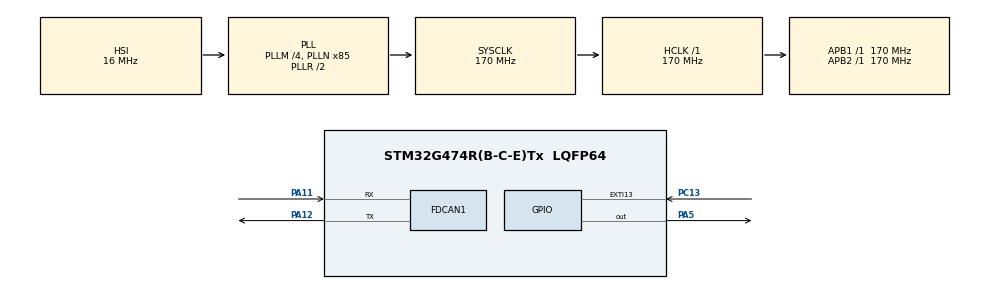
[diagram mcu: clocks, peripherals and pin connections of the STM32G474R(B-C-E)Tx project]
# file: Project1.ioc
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FDCAN1.CalculateBaudRateNominal=500000
FDCAN1.CalculateTimeBitNominal=2000
FDCAN1.CalculateTimeQuantumNominal=400.0
FDCAN1.NominalPrescaler=68
FDCAN1.NominalTimeSeg1=2
FDCAN1.NominalTimeSeg2=2
Mcu.Family=STM32G4
Mcu.Name=STM32G474R(B-C-E)Tx
Mcu.Package=LQFP64
NUCLEO-G474RE.BUTTON=1
NUCLEO-G474RE.LD2=true
NUCLEO-G474RE.VCP=true
NVIC.EXTI15_10_IRQn=true\:0\:0\:false\:false\:true\:true\:true\:true
NVIC.PriorityGroup=NVIC_PRIORITYGROUP_4
PA11.GPIO_Speed=GPIO_SPEED_FREQ_VERY_HIGH
PA11.Mode=FDCAN_Activate
PA11.Signal=FDCAN1_RX
PA12.GPIO_Speed=GPIO_SPEED_FREQ_VERY_HIGH
PA12.Mode=FDCAN_Activate
PA12.Signal=FDCAN1_TX
PA13.GPIO_Label=T_SWDIO
PA13.Signal=SYS_JTMS-SWDIO
PA14.GPIO_Label=T_SWCLK
PA14.Signal=SYS_JTCK-SWCLK
PA2.Signal=LPUART1_TX
PA3.Signal=LPUART1_RX
PA5.Signal=GPIO_Output
PB3.GPIO_Label=T_SWO
PB3.Signal=SYS_JTDO-SWO
PC13.Signal=GPXTI13
PC14-OSC32_IN.GPIO_Label=RCC_OSC32_IN
PC14-OSC32_IN.Signal=RCC_OSC32_IN
PC15-OSC32_OUT.GPIO_Label=RCC_OSC32_OUT
PC15-OSC32_OUT.Signal=RCC_OSC32_OUT
PF0-OSC_IN.GPIO_Label=RCC_OSC_IN
PF0-OSC_IN.Signal=RCC_OSC_IN
PF1-OSC_OUT.GPIO_Label=RCC_OSC_OUT
PF1-OSC_OUT.Signal=RCC_OSC_OUT
ProjectManager.HeapSize=0x200
ProjectManager.StackSize=0x400
ProjectManager.TargetToolchain=STM32CubeIDE
RCC.ADC12Freq_Value=170000000
RCC.ADC345Freq_Value=170000000
RCC.AHBFreq_Value=170000000
RCC.APB1Freq_Value=170000000
RCC.APB1TimFreq_Value=170000000
RCC.APB2Freq_Value=170000000
RCC.APB2TimFreq_Value=170000000
RCC.CortexFreq_Value=170000000
RCC.EXTERNAL_CLOCK_VALUE=12288000
RCC.HCLKFreq_Value=170000000
RCC.HSE_VALUE=24000000
RCC.HSI48_VALUE=48000000
RCC.HSI_VALUE=16000000
RCC.LSE_VALUE=32768
RCC.PLLM=RCC_PLLM_DIV4
RCC.PLLN=85
RCC.RTCClockSelection=RCC_RTCCLKSOURCE_LSE
RCC.SYSCLKFreq_VALUE=170000000
RCC.SYSCLKSource=RCC_SYSCLKSOURCE_PLLCLK
RCC.USBFreq_Value=170000000
RCC.VCOOutputFreq_Value=340000000
VP_NUCLEO-G474RE_VS_BSP_COMMON.Mode=COMMON
VP_SYS_VS_DBSignals.Mode=DisableDeadBatterySignals
board=NUCLEO-G474RE

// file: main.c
/* USER CODE BEGIN Header */
/**
  ******************************************************************************
  * @file           : main.c
  * @brief          : Main program body
  ******************************************************************************
  * @attention
  *
  * Copyright (c) 2025 STMicroelectronics.
  * All rights reserved.
  *
  * This software is licensed under terms that can be found in the LICENSE file
  * in the root directory of this software component.
  * If no LICENSE file comes with this software, it is provided AS-IS.
  *
  ******************************************************************************
  */
/* USER CODE END Header */
#include "main.h"

/* USER CODE BEGIN Includes */
#include "stm32g4xx_hal.h"
#include <stdio.h>
/* USER CODE END Includes */

COM_InitTypeDef BspCOMInit;
FDCAN_HandleTypeDef hfdcan1;

/* USER CODE BEGIN PV */
COM_InitTypeDef BspCOMInit;
FDCAN_HandleTypeDef hfdcan1;
FDCAN_TxHeaderTypeDef TxHeader;
uint8_t TxData[8] = {0};   // up to 8 bytes
/* USER CODE END PV */

void SystemClock_Config(void);
static void MX_GPIO_Init(void);
static void MX_FDCAN1_Init(void);

int main(void)
{

  /* MCU Configuration--------------------------------------------------------*/

  /* Reset of all peripherals, Initializes the Flash interface and the Systick. */
  HAL_Init();

  /* Configure the system clock */
  SystemClock_Config();

  /* Initialize all configured peripherals */
  MX_GPIO_Init();
  MX_FDCAN1_Init();
  /* USER CODE BEGIN 2 */
  // Start FDCAN
  if (HAL_FDCAN_Start(&hfdcan1) != HAL_OK)
  {
    Error_Handler();
  }

  // Accept all messages (optional for this example)
  HAL_FDCAN_ConfigGlobalFilter(&hfdcan1,
  						     FDCAN_ACCEPT_IN_RX_FIFO0,
  						     FDCAN_ACCEPT_IN_RX_FIFO0,
  						     FDCAN_REJECT_REMOTE,
  						     FDCAN_REJECT_REMOTE);

  // Configure transmit header
  TxHeader.Identifier = 0x103;                 // CAN ID
  TxHeader.IdType = FDCAN_STANDARD_ID;
  TxHeader.TxFrameType = FDCAN_DATA_FRAME;
  TxHeader.DataLength = FDCAN_DLC_BYTES_1;
  TxHeader.ErrorStateIndicator = FDCAN_ESI_ACTIVE;
  TxHeader.BitRateSwitch = FDCAN_BRS_OFF;
  TxHeader.FDFormat = FDCAN_CLASSIC_CAN;
  TxHeader.TxEventFifoControl = FDCAN_NO_TX_EVENTS;
  TxHeader.MessageMarker = 0;
  /* USER CODE END 2 */

  /* Initialize led */
  BSP_LED_Init(LED_GREEN);

  /* Initialize USER push-button, will be used to trigger an interrupt each time it's pressed.*/
  BSP_PB_Init(BUTTON_USER, BUTTON_MODE_EXTI);

  /* Initialize COM1 port (115200, 8 bits (7-bit data + 1 stop bit), no parity */
  BspCOMInit.BaudRate   = 115200;
  BspCOMInit.WordLength = COM_WORDLENGTH_8B;
  BspCOMInit.StopBits   = COM_STOPBITS_1;
  BspCOMInit.Parity     = COM_PARITY_NONE;
  BspCOMInit.HwFlowCtl  = COM_HWCONTROL_NONE;
  if (BSP_COM_Init(COM1, &BspCOMInit) != BSP_ERROR_NONE)
  {
    Error_Handler();
  }

  /* Infinite loop */
  /* USER CODE BEGIN WHILE */
  volatile int buttonPressed = 0;
  volatile int counter = 0;

  while (1)
  {
      HAL_Delay(2);

      /* ---- CAN Button Demo ---- */
     if (BSP_PB_GetState(BUTTON_USER) == GPIO_PIN_RESET)
     {
         if (!buttonPressed % 2)
         {
        	 buttonPressed = 1;
             printf("Hello\n");

             if (HAL_FDCAN_AddMessageToTxFifoQ(&hfdcan1, &TxHeader, TxData) != HAL_OK)
             {
                 Error_Handler();
             }

         }
     }
     else
     {
         buttonPressed = 0;
     }

    /* USER CODE END WHILE */

  }
}

void SystemClock_Config(void)
{
  RCC_OscInitTypeDef RCC_OscInitStruct = {0};
  RCC_ClkInitTypeDef RCC_ClkInitStruct = {0};

  /** Configure the main internal regulator output voltage
  */
  HAL_PWREx_ControlVoltageScaling(PWR_REGULATOR_VOLTAGE_SCALE1_BOOST);

  /** Initializes the RCC Oscillators according to the specified parameters
  * in the RCC_OscInitTypeDef structure.
  */
  RCC_OscInitStruct.OscillatorType = RCC_OSCILLATORTYPE_HSI;
  RCC_OscInitStruct.HSIState = RCC_HSI_ON;
  RCC_OscInitStruct.HSICalibrationValue = RCC_HSICALIBRATION_DEFAULT;
  RCC_OscInitStruct.PLL.PLLState = RCC_PLL_ON;
  RCC_OscInitStruct.PLL.PLLSource = RCC_PLLSOURCE_HSI;
  RCC_OscInitStruct.PLL.PLLM = RCC_PLLM_DIV4;
  RCC_OscInitStruct.PLL.PLLN = 85;
  RCC_OscInitStruct.PLL.PLLP = RCC_PLLP_DIV2;
  RCC_OscInitStruct.PLL.PLLQ = RCC_PLLQ_DIV2;
  RCC_OscInitStruct.PLL.PLLR = RCC_PLLR_DIV2;
  if (HAL_RCC_OscConfig(&RCC_OscInitStruct) != HAL_OK)
  {
    Error_Handler();
  }

  /** Initializes the CPU, AHB and APB buses clocks
  */
  RCC_ClkInitStruct.ClockType = RCC_CLOCKTYPE_HCLK|RCC_CLOCKTYPE_SYSCLK
                              |RCC_CLOCKTYPE_PCLK1|RCC_CLOCKTYPE_PCLK2;
  RCC_ClkInitStruct.SYSCLKSource = RCC_SYSCLKSOURCE_PLLCLK;
  RCC_ClkInitStruct.AHBCLKDivider = RCC_SYSCLK_DIV1;
  RCC_ClkInitStruct.APB1CLKDivider = RCC_HCLK_DIV1;
  RCC_ClkInitStruct.APB2CLKDivider = RCC_HCLK_DIV1;

  if (HAL_RCC_ClockConfig(&RCC_ClkInitStruct, FLASH_LATENCY_4) != HAL_OK)
  {
    Error_Handler();
  }
}

static void MX_FDCAN1_Init(void)
{

  hfdcan1.Instance = FDCAN1;
  hfdcan1.Init.ClockDivider = FDCAN_CLOCK_DIV1;
  hfdcan1.Init.FrameFormat = FDCAN_FRAME_CLASSIC;
  hfdcan1.Init.Mode = FDCAN_MODE_NORMAL;
  hfdcan1.Init.AutoRetransmission = DISABLE;
  hfdcan1.Init.TransmitPause = DISABLE;
  hfdcan1.Init.ProtocolException = DISABLE;
  hfdcan1.Init.NominalPrescaler = 68;
  hfdcan1.Init.NominalSyncJumpWidth = 1;
  hfdcan1.Init.NominalTimeSeg1 = 2;
  hfdcan1.Init.NominalTimeSeg2 = 2;
  hfdcan1.Init.DataPrescaler = 1;
  hfdcan1.Init.DataSyncJumpWidth = 1;
  hfdcan1.Init.DataTimeSeg1 = 1;
  hfdcan1.Init.DataTimeSeg2 = 1;
  hfdcan1.Init.StdFiltersNbr = 0;
  hfdcan1.Init.ExtFiltersNbr = 0;
  hfdcan1.Init.TxFifoQueueMode = FDCAN_TX_FIFO_OPERATION;
  if (HAL_FDCAN_Init(&hfdcan1) != HAL_OK)
  {
    Error_Handler();
  }

}

static void MX_GPIO_Init(void)
{

  /* GPIO Ports Clock Enable */
  __HAL_RCC_GPIOC_CLK_ENABLE();
  __HAL_RCC_GPIOF_CLK_ENABLE();
  __HAL_RCC_GPIOA_CLK_ENABLE();
  __HAL_RCC_GPIOB_CLK_ENABLE();

}

void Error_Handler(void)
{
  __disable_irq();
  while (1)
  {
  }
}
